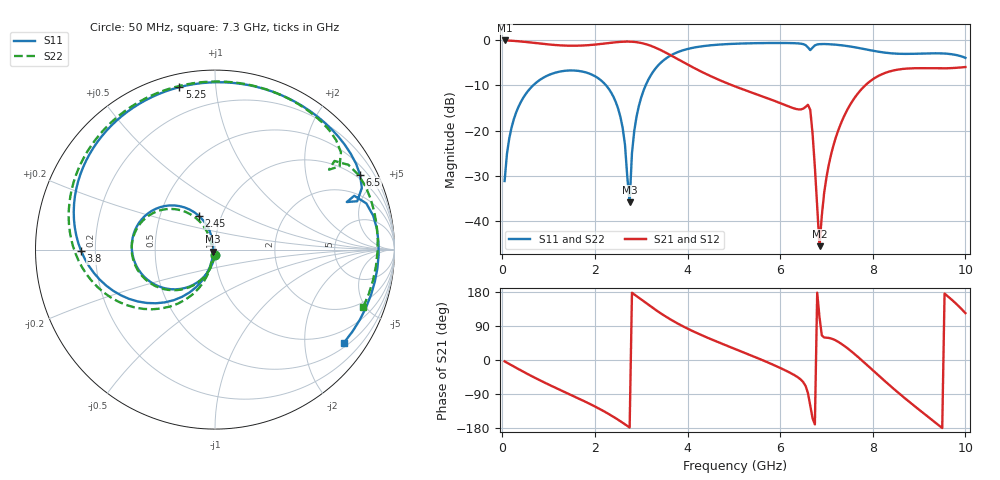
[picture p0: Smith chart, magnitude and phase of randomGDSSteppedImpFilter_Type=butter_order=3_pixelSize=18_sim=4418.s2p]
! freq	dB(S11)	phase(S11)	dB(S12)	phase(S12)
!  dB(S21)	phase(S21)	dB(S22)	phase(S22)
!S-par simulation data
#  GHz  S  DB  R 50
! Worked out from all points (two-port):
!   200 points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, 50 MHz to 10 GHz, reference 50 ohm
!   highest |S21| = -0.01 dB at 50 MHz (marker M1); lowest = -45.7 dB at 6.85 GHz (marker M2)
!   |S21| within 3 dB of the highest: start of sweep to 3.585 GHz
!   lowest |S11| = -35.9 dB at 2.75 GHz (marker M3), VSWR 1.03, Z = 49 - j1.19 ohm
!   |S11| at or under -10 dB: start of sweep to 664.3 MHz; 2.242 GHz to 3.095 GHz (852.5 MHz wide, 31.9 % of centre)
!   |S22| runs from -33.6 to -0.6 dB; largest |S21 - S12| = 0
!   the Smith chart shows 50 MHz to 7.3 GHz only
!   S11 on the Smith chart (normalised r, x): 50 MHz: 1.00, -0.05; 2.45 GHz: 0.78, +0.31; 3.8 GHz: 0.15, -0.01; 5.25 GHz: 0.06, +0.80; 6.5 GHz: 0.83, +3.97; 7.3 GHz: 0.62, -2.98
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0.05  -31.21 -93.6  -0.01 -3.5  -0.01 -3.5  -31.21 -93.5
0.2  -19.32 -104.5  -0.07 -13.9  -0.07 -13.9  -19.32 -104.1
0.5  -11.98 -124.9  -0.33 -34.0  -0.33 -34.0  -11.98 -124.0
1.75  -6.96 160.6  -1.12 -107.6  -1.12 -107.6  -6.96 164.0
2.45  -13.65 115.4  -0.41 -153.7  -0.41 -153.7  -13.65 121.4
2.6  -19.45 106.0  -0.29 -165.6  -0.29 -165.6  -19.41 114.0
2.75  -35.92 -130.6  -0.27 -178.3  -0.27 -178.3  -33.58 -139.3
2.8  -25.03 -106.1  -0.29 177.4  -0.29 177.4  -24.74 -107.5
2.9  -16.85 -109.0  -0.39 168.5  -0.39 168.5  -16.79 -106.4
3.4  -5.18 -150.1  -2.04 124.8  -2.04 124.8  -5.17 -144.3
3.8  -2.55 -179.3  -4.22 95.5  -4.22 95.5  -2.54 -172.3
5.05  -0.73 112.5  -10.30 28.0  -10.30 28.0  -0.72 123.4
5.25  -0.66 102.4  -11.07 18.2  -11.07 18.2  -0.65 114.0
6.5  -0.83 27.2  -15.14 -58.7  -15.14 -58.7  -0.82 42.1
6.7  -1.60 21.1  -20.68 -153.6  -20.68 -153.6  -1.63 36.6
6.85  -0.82 7.3  -45.67 112.1  -45.67 112.1  -0.82 22.7
7  -0.81 -6.6  -30.38 58.9  -30.38 58.9  -0.81 8.6
7.3  -1.05 -35.8  -18.73 44.5  -18.73 44.5  -1.05 -21.1
7.8  -1.88 -91.5  -10.36 -4.9  -10.36 -4.9  -1.88 -78.3
8.35  -2.82 -157.5  -6.93 -65.3  -6.93 -65.3  -2.76 -143.7
9.25  -2.87 102.7  -6.18 -155.2  -6.18 -155.2  -2.85 124.9
10  -3.87 19.9  -5.91 123.7  -5.91 123.7  -3.88 47.2
